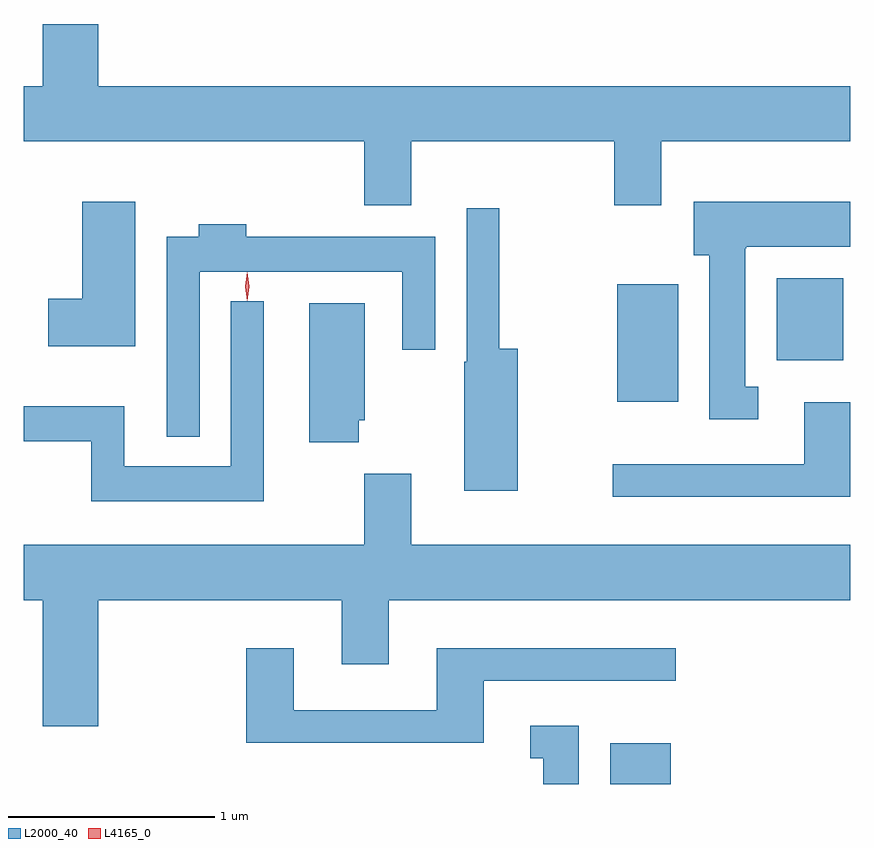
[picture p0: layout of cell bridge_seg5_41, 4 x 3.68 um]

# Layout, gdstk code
import gdstk
lib = gdstk.Library(unit=1e-6, precision=1e-09)
def R(c, l, rs):  # rectangles x0, y0, x1, y1
    for r in rs: c.add(gdstk.rectangle(r[:2], r[2:], *l))
def P(c, l, *ps):  # polygons
    for p in ps: c.add(gdstk.Polygon(p, *l))
L2000_40 = (2000, 40)
L4165_0 = (4165, 0)

bridge_seg5_41 = lib.new_cell('bridge_seg5_41')
R(bridge_seg5_41, L2000_40, [(1336.701,1473.667,1336.994,1473.864), (1336.736,1475.516,1337.029,1476.084), (1337.506,1475.716,1337.829,1476.114)])
P(bridge_seg5_41, L2000_40, [(1335.739,1476.776),(1336.721,1476.776),(1336.721,1476.466),(1336.949,1476.466),(1336.949,1476.776),(1337.863,1476.776),(1337.863,1477.044),(1334.224,1477.044),(1334.224,1477.344),(1333.956,1477.344),(1333.956,1477.044),(1333.863,1477.044),(1333.863,1476.776),(1335.511,1476.776),(1335.511,1476.466),(1335.739,1476.466)],
  [(1334.404,1476.484),(1334.146,1476.484),(1334.146,1476.014),(1333.981,1476.014),(1333.981,1475.786),(1334.404,1475.786)],
  [(1337.418,1475.589),(1337.354,1475.589),(1337.354,1476.26),(1337.36,1476.26),(1337.36,1476.266),(1337.863,1476.266),(1337.863,1476.484),(1337.106,1476.484),(1337.106,1476.226),(1337.181,1476.226),(1337.181,1475.431),(1337.418,1475.431)],
  [(1336.254,1475.774),(1336.164,1475.774),(1336.164,1476.453),(1336.006,1476.453),(1336.006,1475.71),(1335.996,1475.71),(1335.996,1475.086),(1336.254,1475.086)],
  [(1334.714,1476.146),(1335.696,1476.146),(1335.696,1475.768),(1335.854,1475.768),(1335.854,1476.314),(1334.939,1476.314),(1334.939,1476.374),(1334.711,1476.374),(1334.711,1476.314),(1334.556,1476.314),(1334.556,1475.348),(1334.714,1475.348)],
  [(1335.024,1476.003),(1334.866,1476.003),(1334.866,1475.204),(1334.349,1475.204),(1334.349,1475.494),(1333.863,1475.494),(1333.863,1475.326),(1334.191,1475.326),(1334.191,1475.036),(1335.024,1475.036)],
  [(1335.484,1475.426),(1335.514,1475.426),(1335.514,1475.994),(1335.246,1475.994),(1335.246,1475.321),(1335.484,1475.321)],
  [(1337.863,1475.514),(1337.641,1475.514),(1337.641,1475.214),(1336.713,1475.214),(1336.713,1475.056),(1337.863,1475.056)],
  [(1334.224,1474.556),(1335.401,1474.556),(1335.401,1474.246),(1335.629,1474.246),(1335.629,1474.556),(1337.863,1474.556),(1337.863,1474.824),(1335.739,1474.824),(1335.739,1475.169),(1335.511,1475.169),(1335.511,1474.824),(1333.863,1474.824),(1333.863,1474.556),(1333.956,1474.556),(1333.956,1473.946),(1334.224,1473.946)],
  [(1336.089,1474.166),(1337.018,1474.166),(1337.018,1474.324),(1335.861,1474.324),(1335.861,1474.024),(1335.169,1474.024),(1335.169,1474.324),(1334.941,1474.324),(1334.941,1473.866),(1336.089,1473.866)],
  [(1336.549,1473.949),(1336.313,1473.949),(1336.313,1473.791),(1336.376,1473.791),(1336.376,1473.667),(1336.549,1473.667)])
P(bridge_seg5_41, L4165_0, [(1334.944,1476.004),(1334.936,1476.073),(1334.945,1476.142),(1334.946,1476.143),(1334.946,1476.142),(1334.955,1476.073),(1334.946,1476.004),(1334.945,1476.004)],
  [(1334.944,1476.007),(1334.935,1476.074),(1334.944,1476.14),(1334.945,1476.141),(1334.946,1476.14),(1334.955,1476.074),(1334.946,1476.007),(1334.945,1476.007)])

lib.write_gds('bridge_seg5_41.gds')
